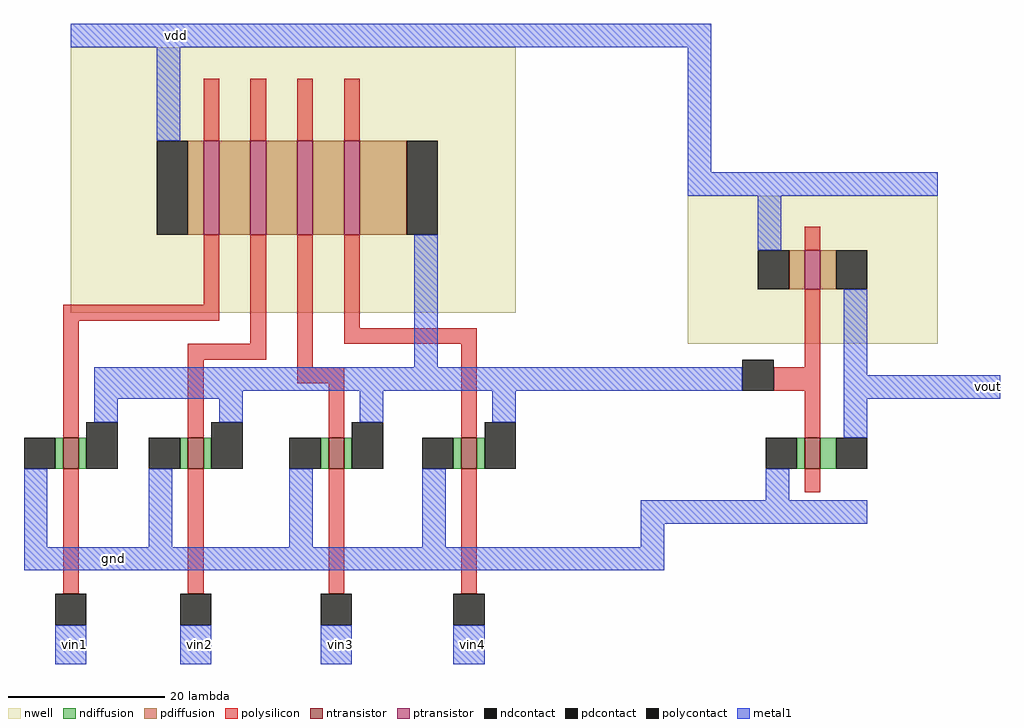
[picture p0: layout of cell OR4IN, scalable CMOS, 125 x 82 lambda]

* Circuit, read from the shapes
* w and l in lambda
.subckt OR4IN gnd vdd vin1 vin2 vin3 vin4 vout
M1 NOT_0/in vin1 gnd VSUBS nfet w=4 l=2
M2 NOT_0/in vin2 gnd VSUBS nfet w=4 l=2
M3 NOT_0/in vin3 gnd VSUBS nfet w=4 l=2
M4 NOT_0/in vin4 gnd VSUBS nfet w=4 l=2
M5 vout NOT_0/in gnd VSUBS nfet w=4 l=2
M6 n1 vin1 vdd n2 pfet w=12 l=2
M7 n3 vin2 n1 n2 pfet w=12 l=2
M8 n4 vin3 n3 n2 pfet w=12 l=2
M9 NOT_0/in vin4 n4 n2 pfet w=12 l=2
M10 vout NOT_0/in vdd n5 pfet w=5 l=2
.ends

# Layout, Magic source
magic
tech scmos
<< nwell >>
rect -19 -9 38 25
<< ntransistor >>
rect -20 -29 -18 -25
rect -4 -29 -2 -25
rect 14 -29 16 -25
rect 31 -29 33 -25
<< ptransistor >>
rect -2 1 0 13
rect 4 1 6 13
rect 10 1 12 13
rect 16 1 18 13
<< ndiffusion >>
rect -21 -29 -20 -25
rect -18 -29 -17 -25
rect -5 -29 -4 -25
rect -2 -29 -1 -25
rect 13 -29 14 -25
rect 16 -29 17 -25
rect 30 -29 31 -25
rect 33 -29 34 -25
<< pdiffusion >>
rect -4 1 -2 13
rect 0 1 4 13
rect 6 1 10 13
rect 12 1 16 13
rect 18 1 24 13
<< ndcontact >>
rect -25 -29 -21 -25
rect -17 -29 -13 -23
rect -9 -29 -5 -25
rect -1 -29 3 -23
rect 9 -29 13 -25
rect 17 -29 21 -23
rect 26 -29 30 -25
rect 34 -29 38 -23
<< pdcontact >>
rect -8 1 -4 13
rect 24 1 28 13
<< polysilicon >>
rect -2 13 0 21
rect 4 13 6 21
rect 10 13 12 21
rect 16 13 18 21
rect -2 -8 0 1
rect -20 -10 0 -8
rect -20 -25 -18 -10
rect 4 -13 6 1
rect -4 -15 6 -13
rect -4 -25 -2 -15
rect 10 -16 12 1
rect 16 -11 18 1
rect 16 -13 33 -11
rect 10 -18 16 -16
rect 14 -25 16 -18
rect 31 -25 33 -13
rect -20 -45 -18 -29
rect -4 -45 -2 -29
rect 14 -45 16 -29
rect 31 -45 33 -29
<< polycontact >>
rect -21 -49 -17 -45
rect -5 -49 -1 -45
rect 13 -49 17 -45
rect 30 -49 34 -45
<< metal1 >>
rect -19 25 63 28
rect -8 13 -5 25
rect 60 6 63 25
rect 25 -16 28 1
rect -16 -19 65 -16
rect -16 -20 3 -19
rect -16 -23 -13 -20
rect 0 -23 3 -20
rect 18 -23 21 -19
rect 35 -23 38 -19
rect 86 -20 100 -17
rect -25 -39 -22 -29
rect -9 -39 -6 -29
rect 9 -39 12 -29
rect 26 -39 29 -29
rect 54 -36 70 -33
rect 54 -39 57 -36
rect -25 -42 57 -39
rect -21 -54 -17 -49
rect -5 -54 -1 -49
rect 13 -54 17 -49
rect 30 -54 34 -49
use NOT  NOT_0
transform 1 0 67 0 1 -10
box -7 -26 25 19
<< labels >>
rlabel metal1 -6 26 -5 27 5 vdd
rlabel metal1 -14 -41 -13 -40 1 gnd
rlabel metal1 -19 -52 -18 -51 1 vin1
rlabel metal1 -3 -52 -2 -51 1 vin2
rlabel metal1 15 -52 16 -51 1 vin3
rlabel metal1 32 -52 33 -51 1 vin4
rlabel metal1 98 -19 99 -18 7 vout
<< end >>

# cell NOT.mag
magic
tech scmos
<< nwell >>
rect -7 -3 25 16
<< ntransistor >>
rect 8 -19 10 -15
<< ptransistor >>
rect 8 4 10 9
<< ndiffusion >>
rect 7 -19 8 -15
rect 10 -19 12 -15
<< pdiffusion >>
rect 6 4 8 9
rect 10 4 12 9
<< ndcontact >>
rect 3 -19 7 -15
rect 12 -19 16 -15
<< pdcontact >>
rect 2 4 6 9
rect 12 4 16 9
<< polysilicon >>
rect 8 9 10 12
rect 8 -6 10 4
rect 4 -9 10 -6
rect 8 -15 10 -9
rect 8 -22 10 -19
<< polycontact >>
rect 0 -9 4 -5
<< metal1 >>
rect -7 16 25 19
rect 2 9 5 16
rect -3 -9 0 -6
rect 13 -7 16 4
rect 13 -10 20 -7
rect 13 -15 16 -10
rect 3 -23 6 -19
rect 2 -26 16 -23
<< labels >>
rlabel metal1 6 17 9 18 5 vdd
rlabel metal1 -3 -8 -2 -7 3 in
rlabel metal1 18 -9 19 -8 1 out
rlabel metal1 9 -25 10 -24 1 gnd
<< end >>
